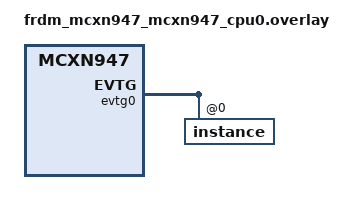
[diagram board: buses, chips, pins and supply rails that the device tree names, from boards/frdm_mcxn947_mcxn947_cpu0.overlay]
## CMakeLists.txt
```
# SPDX-FileCopyrightText: Copyright 2026 NXP
# SPDX-License-Identifier: Apache-2.0

cmake_minimum_required(VERSION 3.20.0)
find_package(Zephyr REQUIRED HINTS $ENV{ZEPHYR_BASE})
project(nxp_evtg)

target_sources(app PRIVATE src/main.c)
```

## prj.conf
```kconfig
CONFIG_ZTEST=y
CONFIG_NXP_EVTG=y
```

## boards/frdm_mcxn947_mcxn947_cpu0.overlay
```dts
/*
 * SPDX-FileCopyrightText: Copyright 2026 NXP
 * SPDX-License-Identifier: Apache-2.0
 */

#include <zephyr/dt-bindings/misc/nxp-evtg.h>

&evtg0 {
	status = "okay";

	instance@0 {
		reg = <0>;
		/* D-FF mode: driver must keep inputs synced with no override. */
		flip-flop-mode = "d-ff";
		flip-flop-init-output = <1>;

		/* AOI0 output = A AND (NOT B). */
		aoi0-term0 = <EVTG_PASS EVTG_INVERT EVTG_IGNORE EVTG_IGNORE>;
	};
};
```

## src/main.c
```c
/*
 * SPDX-FileCopyrightText: Copyright 2026 NXP
 * SPDX-License-Identifier: Apache-2.0
 */

/*
 * Register-level test for the NXP EVTG Zephyr driver: check the driver
 * programmed the devicetree configuration by reading the registers back.
 */

#include <zephyr/ztest.h>
#include <zephyr/device.h>
#include <zephyr/devicetree.h>
#include <zephyr/sys/util.h>

#include <fsl_evtg.h>

#define EVTG_NODE      DT_NODELABEL(evtg0)
#define EVTG_INST_NODE DT_CHILD(EVTG_NODE, instance_0)

BUILD_ASSERT(DT_NODE_HAS_STATUS(EVTG_NODE, okay),
	     "evtg0 devicetree node must be enabled for this test");
BUILD_ASSERT(DT_NODE_HAS_STATUS(EVTG_INST_NODE, okay),
	     "evtg0 instance@0 devicetree node must be enabled for this test");

#define TEST_EVTG_INDEX ((uint8_t)DT_REG_ADDR(EVTG_INST_NODE))

static EVTG_Type *const evtg = (EVTG_Type *)DT_REG_ADDR(EVTG_NODE);
static const struct device *const evtg_dev = DEVICE_DT_GET(EVTG_NODE);

/* Expected AOI0 product term 0 (inputs A, B, C, D), straight from devicetree. */
static const uint8_t aoi0_term0_expected[] = DT_PROP(EVTG_INST_NODE, aoi0_term0);

static uint16_t evtg_ctrl(void)
{
	return evtg->EVTG_INST[TEST_EVTG_INDEX].EVTG_CTRL;
}

static uint16_t evtg_aoi0_bft01(void)
{
	return evtg->EVTG_INST[TEST_EVTG_INDEX].EVTG_AOI0_BFT01;
}

ZTEST_SUITE(nxp_evtg, NULL, NULL, NULL, NULL, NULL);

/* The driver must have bound and initialized the EVTG device. */
ZTEST(nxp_evtg, test_device_ready)
{
	zassert_true(device_is_ready(evtg_dev), "EVTG device is not ready");
}

/* The driver must program the flip-flop mode selected in devicetree. */
ZTEST(nxp_evtg, test_flipflop_mode_from_dt)
{
	uint16_t mode = FIELD_GET(EVTG_EVTG_INST_EVTG_CTRL_MODE_SEL_MASK, evtg_ctrl());

	zassert_equal(mode, (uint16_t)DT_ENUM_IDX(EVTG_INST_NODE, flip_flop_mode),
		      "flip-flop mode not programmed from devicetree");
}

/* The driver must latch the flip-flop initial output value from devicetree. */
ZTEST(nxp_evtg, test_flipflop_init_output_from_dt)
{
	zassert_equal(FIELD_GET(EVTG_EVTG_INST_EVTG_CTRL_FF_INIT_MASK, evtg_ctrl()),
		      (uint16_t)DT_PROP(EVTG_INST_NODE, flip_flop_init_output),
		      "flip-flop init output not programmed from devicetree");
}

/* D-FF mode must keep all inputs synced (SYNC_CTRL == 0xF) with no DT override. */
ZTEST(nxp_evtg, test_input_sync_defaults_preserved)
{
	uint16_t sync = FIELD_GET(EVTG_EVTG_INST_EVTG_CTRL_SYNC_CTRL_MASK, evtg_ctrl());

	zassert_equal(sync, 0xFU, "input sync defaults not preserved for D-FF mode");
}

/* The driver must program the AOI0 product term 0 inputs from devicetree. */
ZTEST(nxp_evtg, test_aoi0_product_term_from_dt)
{
	uint16_t bft01 = evtg_aoi0_bft01();

	zassert_equal(FIELD_GET(EVTG_EVTG_INST_EVTG_AOI0_BFT01_PT0_AC_MASK, bft01),
		      aoi0_term0_expected[0], "AOI0 PT0 input A read-back mismatch");
	zassert_equal(FIELD_GET(EVTG_EVTG_INST_EVTG_AOI0_BFT01_PT0_BC_MASK, bft01),
		      aoi0_term0_expected[1], "AOI0 PT0 input B read-back mismatch");
	zassert_equal(FIELD_GET(EVTG_EVTG_INST_EVTG_AOI0_BFT01_PT0_CC_MASK, bft01),
		      aoi0_term0_expected[2], "AOI0 PT0 input C read-back mismatch");
	zassert_equal(FIELD_GET(EVTG_EVTG_INST_EVTG_AOI0_BFT01_PT0_DC_MASK, bft01),
		      aoi0_term0_expected[3], "AOI0 PT0 input D read-back mismatch");
}
```
